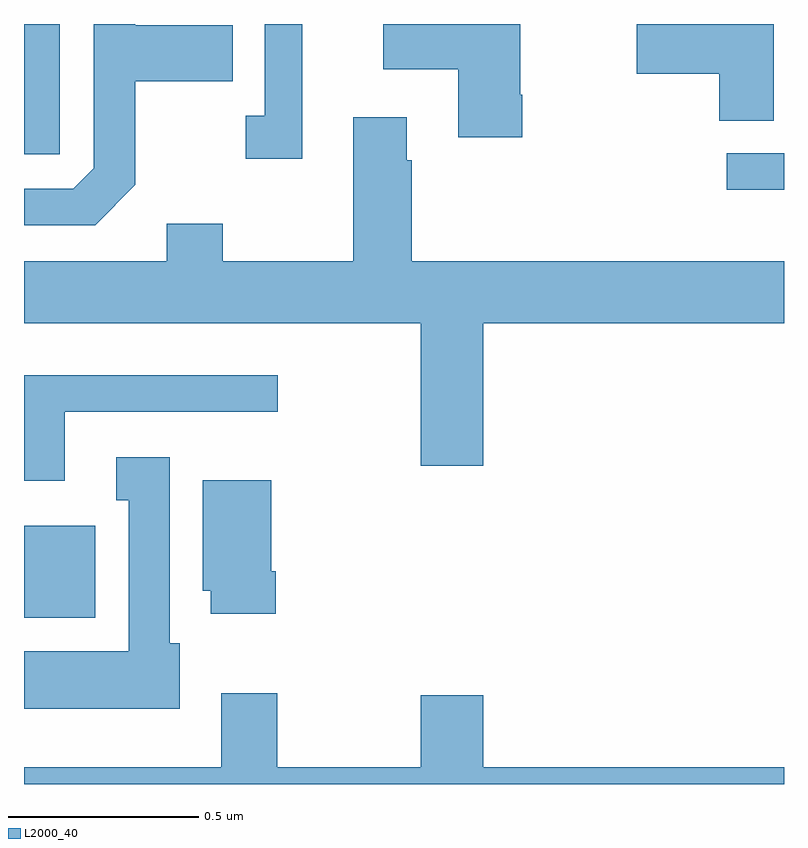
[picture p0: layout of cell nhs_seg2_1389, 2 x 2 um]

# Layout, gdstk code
import gdstk
lib = gdstk.Library(unit=1e-6, precision=1e-09)
def R(c, l, rs):  # rectangles x0, y0, x1, y1
    for r in rs: c.add(gdstk.rectangle(r[:2], r[2:], *l))
def P(c, l, *ps):  # polygons
    for p in ps: c.add(gdstk.Polygon(p, *l))
L2000_40 = (2000, 40)

nhs_seg2_1389 = lib.new_cell('nhs_seg2_1389')
R(nhs_seg2_1389, L2000_40, [(128,604.238,128.188,604.48), (129.849,605.364,130,605.46), (128,605.457,128.094,605.8)])
P(nhs_seg2_1389, L2000_40, [(128.732,605.8),(128.634,605.8),(128.634,605.558),(128.583,605.558),(128.583,605.445),(128.732,605.445)],
  [(129.973,605.8),(129.612,605.8),(129.612,605.669),(129.83,605.669),(129.83,605.545),(129.973,605.545)],
  [(128.293,605.377),(128.293,605.65),(128.549,605.65),(128.549,605.797),(128.293,605.797),(128.293,605.8),(128.184,605.8),(128.184,605.421),(128.13,605.367),(128,605.367),(128,605.271),(128.187,605.271)],
  [(129.311,605.614),(129.306,605.614),(129.306,605.8),(128.946,605.8),(128.946,605.681),(129.143,605.681),(129.143,605.502),(129.311,605.502)],
  [(129.208,605.012),(130,605.012),(130,605.176),(129.02,605.176),(129.02,605.441),(129.007,605.441),(129.007,605.554),(128.867,605.554),(128.867,605.176),(128.523,605.176),(128.523,605.275),(128.375,605.275),(128.375,605.176),(128,605.176),(128,605.012),(129.044,605.012),(129.044,604.638),(129.208,604.638)],
  [(128.107,604.779),(128.668,604.779),(128.668,604.876),(128,604.876),(128,604.598),(128.107,604.598)],
  [(128.41,604.17),(128.383,604.17),(128.383,604.66),(128.243,604.66),(128.243,604.547),(128.276,604.547),(128.276,604.15),(128,604.15),(128,603.998),(128.41,603.998)],
  [(128.663,604.36),(128.65,604.36),(128.65,604.6),(128.471,604.6),(128.471,604.308),(128.492,604.308),(128.492,604.248),(128.663,604.248)],
  [(130,603.844),(129.208,603.844),(129.208,604.033),(129.044,604.033),(129.044,603.844),(128.667,603.844),(128.667,604.039),(128.519,604.039),(128.519,603.844),(128,603.844),(128,603.8),(130,603.8)])

lib.write_gds('nhs_seg2_1389.gds')
